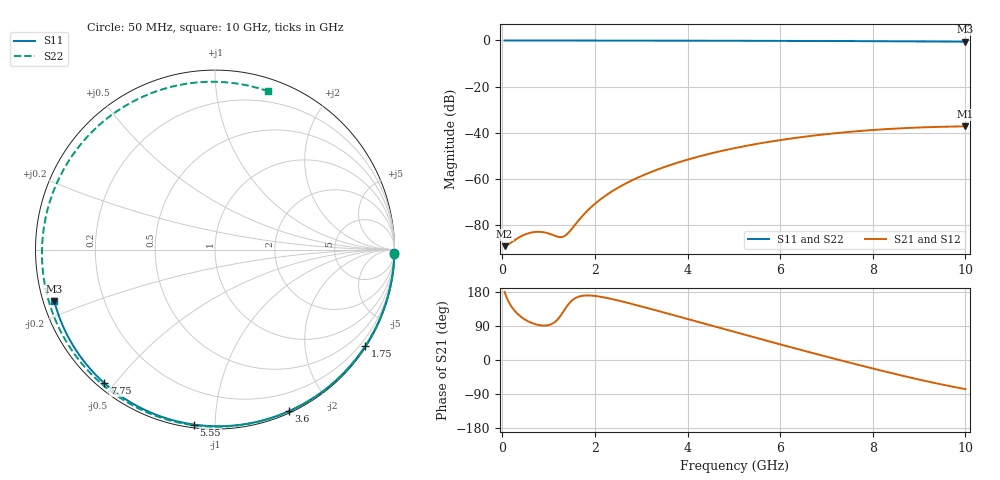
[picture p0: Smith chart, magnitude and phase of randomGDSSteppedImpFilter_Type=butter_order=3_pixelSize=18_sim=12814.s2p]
! freq	dB(S11)	phase(S11)	dB(S12)	phase(S12)
!  dB(S21)	phase(S21)	dB(S22)	phase(S22)
!S-par simulation data
#  GHz  S  DB  R 50
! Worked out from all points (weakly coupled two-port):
!   200 points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, 50 MHz to 10 GHz, reference 50 ohm
!   highest |S21| = -37.18 dB at 10 GHz (marker M1); lowest = -89.1 dB at 50 MHz (marker M2)
!   lowest |S11| = -0.5 dB at 10 GHz (marker M3), VSWR 32.43, Z = 1.58 - j7.79 ohm
!   |S11| at or under -10 dB: nowhere
!   |S22| runs from -0.6 to 0.0 dB; largest |S21 - S12| = 0
!   S11 on the Smith chart (normalised r, x): 50 MHz: open; 1.75 GHz: 0.03, -3.41; 3.6 GHz: 0.02, -1.56; 5.55 GHz: 0.02, -0.89; 7.75 GHz: 0.02, -0.47; 10 GHz: 0.03, -0.16
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0.05  -0.00 -1.0  -89.08 179.6  -89.08 179.6  -0.00 -1.5
0.4  -0.01 -7.6  -84.87 114.4  -84.87 114.4  -0.01 -12.2
0.75  -0.02 -14.2  -82.86 93.3  -82.86 93.3  -0.02 -22.8
1.55  -0.04 -29.1  -80.37 161.3  -80.37 161.3  -0.06 -46.5
1.75  -0.04 -32.7  -75.58 169.8  -75.58 169.8  -0.07 -52.3
2.05  -0.05 -38.2  -69.91 168.3  -69.91 168.3  -0.08 -60.9
2.45  -0.06 -45.4  -64.35 158.5  -64.35 158.5  -0.09 -72.1
2.9  -0.07 -53.3  -59.63 144.7  -59.63 144.7  -0.11 -84.5
3.4  -0.08 -61.9  -55.53 128.3  -55.53 128.3  -0.13 -97.9
3.6  -0.09 -65.3  -54.12 121.6  -54.12 121.6  -0.13 -103.2
4.3  -0.11 -77.0  -49.96 98.1  -49.96 98.1  -0.17 -121.4
5.05  -0.14 -89.1  -46.49 72.8  -46.49 72.8  -0.21 -140.7
5.55  -0.16 -96.9  -44.60 56.1  -44.60 56.1  -0.24 -153.5
6.15  -0.19 -106.0  -42.70 36.3  -42.70 36.3  -0.29 -169.1
6.7  -0.22 -114.3  -41.26 18.5  -41.26 18.5  -0.33 176.1
7.25  -0.26 -122.3  -40.05 0.9  -40.05 0.9  -0.38 160.8
7.75  -0.30 -129.6  -39.16 -14.7  -39.16 -14.7  -0.43 146.3
8.35  -0.35 -138.3  -38.32 -33.0  -38.32 -33.0  -0.48 127.9
8.8  -0.40 -144.8  -37.85 -46.0  -37.85 -46.0  -0.52 113.3
9.2  -0.44 -150.6  -37.55 -57.1  -37.55 -57.1  -0.56 99.8
9.6  -0.49 -156.4  -37.33 -67.4  -37.33 -67.4  -0.59 85.9
10  -0.54 -162.3  -37.18 -76.8  -37.18 -76.8  -0.63 71.6
